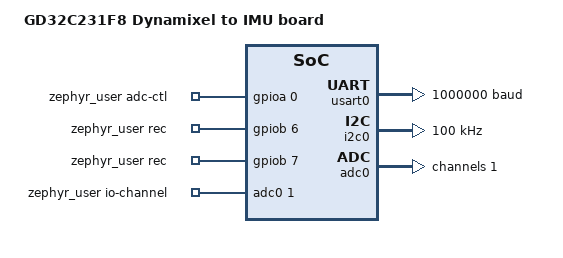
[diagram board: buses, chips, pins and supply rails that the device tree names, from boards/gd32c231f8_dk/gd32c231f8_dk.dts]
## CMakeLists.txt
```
cmake_minimum_required(VERSION 3.20.0)
list(APPEND DTS_ROOT ${CMAKE_CURRENT_SOURCE_DIR})
list(APPEND BOARD_ROOT ${CMAKE_CURRENT_SOURCE_DIR})
find_package(Zephyr REQUIRED HINTS $ENV{ZEPHYR_BASE})
project(zephyr-gd32)

target_sources(app PRIVATE src/main.c src/dxl.c src/imu.c)
```

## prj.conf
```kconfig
CONFIG_GPIO=y
CONFIG_ADC=y
CONFIG_I2C=y
CONFIG_SERIAL=y
CONFIG_UART_INTERRUPT_DRIVEN=y

# The only UART is the Dynamixel bus itself: no console, no printk.
CONFIG_CONSOLE=n
CONFIG_UART_CONSOLE=n

CONFIG_MAIN_STACK_SIZE=2048
```

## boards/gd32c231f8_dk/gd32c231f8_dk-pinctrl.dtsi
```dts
/*
 * GD32C231F8P6 (TSSOP20) pinmux
 */

#include <dt-bindings/pinctrl/gd32c231f(6)xx-pinctrl.h>

&pinctrl {
	usart0_default: usart0_default {
		group1 {
			pinmux = <USART0_TX_PA9>, <USART0_RX_PA10>;
		};
	};

	i2c0_default: i2c0_default {
		group1 {
			pinmux = <I2C0_SCL_PB6>, <I2C0_SDA_PB7>;
			drive-open-drain;
		};
	};

	adc0_default: adc0_default {
		group1 {
			pinmux = <ADC_IN1_PA1>;
		};
	};
};
```

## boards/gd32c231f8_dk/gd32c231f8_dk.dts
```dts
/*
 * MicroDuck power board MCU (GD32C231F8P6TR)
 */

/dts-v1/;

#include <gd/gd32c2x1/gd32c231f8.dtsi>
#include <zephyr/dt-bindings/adc/adc.h>
#include <zephyr/dt-bindings/i2c/i2c.h>
#include "gd32c231f8_dk-pinctrl.dtsi"

/ {
	model = "GD32C231F8 Dynamixel to IMU board";
	compatible = "gd,gd32c231f8-dk";

	chosen {
		zephyr,flash = &flash0;
		zephyr,sram = &sram0;
	};

	zephyr_user: zephyr-user {
		compatible = "zephyr,user";
		/* PA0 = ADC_CTL: powers the ADC sense divider, driven high at boot */
		adc-ctl-gpios = <&gpioa 0 GPIO_ACTIVE_HIGH>;
		/* PA1 = ADC0_IN1: Vbat divider sample (Vbat = Vadc x 2.8) */
		io-channels = <&adc0 1>;
		/* I2C0 bus recovery bit-bang (SCL, SDA) */
		rec-gpios = <&gpiob 6 GPIO_OPEN_DRAIN>, <&gpiob 7 GPIO_OPEN_DRAIN>;
	};
};

&gpioa {
	status = "okay";
};

&gpiob {
	status = "okay";
};

&usart0 {
	status = "okay";
	current-speed = <1000000>;
	pinctrl-0 = <&usart0_default>;
	pinctrl-names = "default";
};

&i2c0 {
	pinctrl-0 = <&i2c0_default>;
	pinctrl-names = "default";
	clock-frequency = <I2C_BITRATE_STANDARD>;
	status = "okay";

	/* LSM6DSV16XTR at I2C 0x6A; sensor driver disabled, the app accesses registers directly */
	lsm6dsv16x: imu@6a {
		compatible = "st,lsm6dsv16x";
		reg = <0x6a>;
		status = "disabled";
	};
};

&adc0 {
	pinctrl-0 = <&adc0_default>;
	pinctrl-names = "default";
	status = "okay";

	#address-cells = <1>;
	#size-cells = <0>;

	channel@1 {
		reg = <1>;
		zephyr,gain = "ADC_GAIN_1";
		zephyr,reference = "ADC_REF_INTERNAL";
		/* longest acquisition time (160.5 cycles) for the 18K/10K divider source impedance */
		zephyr,acquisition-time = <ADC_ACQ_TIME(ADC_ACQ_TIME_TICKS, 161)>;
		zephyr,resolution = <12>;
		zephyr,vref-mv = <3300>;
	};
};
```

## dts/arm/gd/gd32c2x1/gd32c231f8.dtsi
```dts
/*
 * GD32C231F8 (TSSOP20, 64K flash / 12K SRAM)
 *
 * The upstream gd32c2x1.dtsi lacks i2c0/adc0 nodes; they are added here.
 */

#include <gd/gd32c2x1/gd32c2x1.dtsi>

&flash0 {
	reg = <0x08000000 DT_SIZE_K(64)>;
	page-size = <DT_SIZE_K(1)>;
};

&{/soc} {
	i2c0: i2c@40005400 {
		compatible = "gd,gd32-i2c-v2";
		reg = <0x40005400 0x400>;
		#address-cells = <1>;
		#size-cells = <0>;
		interrupts = <17 0>, <18 0>;
		interrupt-names = "event", "error";
		clocks = <&cctl GD32_CLOCK_I2C0>;
		resets = <&rctl GD32_RESET_I2C0>;
		status = "disabled";
	};

	adc0: adc@40012400 {
		compatible = "gd,gd32-adc";
		reg = <0x40012400 0x400>;
		interrupts = <13 0>;
		clocks = <&cctl GD32_CLOCK_ADC>;
		resets = <&rctl GD32_RESET_ADC>;
		channels = <13>;
		vref-mv = <3300>;
		#io-channel-cells = <1>;
		status = "disabled";
	};
};
```

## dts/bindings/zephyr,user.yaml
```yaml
description: Application-specific IO pins (ADC control, ADC input channel)

compatible: "zephyr,user"

include: [base.yaml]

properties:
  adc-ctl-gpios:
    type: phandle-array
    required: true
    description: ADC_CTL power-enable GPIO (PA0)

  io-channels:
    type: phandle-array
    required: true
    description: ADC input channel (PA1/ADC0)

  rec-gpios:
    type: phandle-array
    required: true
    description: I2C0 bus recovery bit-bang pins (SCL=PB6, SDA=PB7)
```

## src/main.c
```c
/*
 * MicroDuck power board MCU (GD32C231F8P6TR)
 *
 * Dynamixel protocol 2.0 device on the single-wire half-duplex bus it shares
 * with the servos: ID 200, 1 Mbps. The IMU and battery voltage sit in a
 * control table (see dxl.c); the host reads everything as one block at
 * address 124 or register by register.
 *
 * The bus engine runs on the main thread and nothing else, so a stuck sensor
 * can never take the bus down. Sensor I2C/ADC work lives in its own thread
 * and only runs while the bus has been quiet for 2 ms.
 */

#include <zephyr/device.h>
#include <zephyr/devicetree.h>
#include <zephyr/drivers/adc.h>
#include <zephyr/drivers/gpio.h>
#include <zephyr/kernel.h>

#include "dxl.h"
#include "imu.h"

#define ADC_REF_MV     3300
#define ADC_FULL_SCALE 4095
/* divider: Vbat = Vadc x 2.8 */
#define VBAT_X100_NUM  280
#define ADC_AVG        32
#define IMU_RETRY_MS   1000

static const struct gpio_dt_spec adc_ctl =
	GPIO_DT_SPEC_GET(DT_PATH(zephyr_user), adc_ctl_gpios);
static const struct adc_dt_spec adc_chan =
	ADC_DT_SPEC_GET_BY_IDX(DT_PATH(zephyr_user), 0);
static const struct device *uart = DEVICE_DT_GET(DT_NODELABEL(usart0));

static uint32_t adc_sum;
static uint8_t adc_count;

static void adc_step(void)
{
	uint16_t value;
	struct adc_sequence seq = {
		.channels = BIT(adc_chan.channel_id),
		.buffer = &value,
		.buffer_size = sizeof(value),
		.resolution = 12,
	};

	if (adc_read(adc_chan.dev, &seq) < 0) {
		return;
	}
	adc_sum += value;
	if (++adc_count < ADC_AVG) {
		return;
	}
	uint32_t raw = adc_sum / ADC_AVG;

	adc_sum = 0;
	adc_count = 0;
	dxl_set_battery_mv(raw * ADC_REF_MV / ADC_FULL_SCALE * VBAT_X100_NUM / 100);
}

static void sensor_thread(void *p1, void *p2, void *p3)
{
	uint32_t imu_retry_at = 0;

	imu_init();
	for (;;) {
		if (dxl_bus_active()) {
			k_sleep(K_MSEC(1));
			continue;
		}
		struct imu_state im;

		imu_get_state(&im);
		if (!im.online) {
			uint32_t now = k_uptime_get_32();

			if ((int32_t)(now - imu_retry_at) >= 0) {
				if (imu_init() < 0) {
					imu_bus_recover();
				}
				imu_retry_at = now + IMU_RETRY_MS;
			}
			k_sleep(K_MSEC(10));
		} else {
			imu_step();
			k_sleep(K_MSEC(1));
		}
		if (!dxl_bus_active()) {
			adc_step();
		}
	}
}

K_THREAD_DEFINE(sensor_tid, 2048, sensor_thread, NULL, NULL, NULL, 7, 0, 0);

int main(void)
{
	if (!device_is_ready(adc_ctl.port) || !device_is_ready(adc_chan.dev) ||
	    !device_is_ready(uart)) {
		return 0;
	}
	gpio_pin_configure_dt(&adc_ctl, GPIO_OUTPUT_HIGH);
	adc_channel_setup_dt(&adc_chan);

	dxl_init(uart);

	for (;;) {
		dxl_process();
		/* prio 0 must not spin forever or the sensor thread starves */
		k_sleep(K_MSEC(1));
	}
	return 0;
}
```

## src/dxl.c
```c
/*
 * Dynamixel protocol 2.0 device side, for the half-duplex single-wire bus.
 *
 * The board answers only its own ID, so it shares the bus with the XL330
 * servos without disturbing them: PING / READ / WRITE / REBOOT addressed to
 * us, plus SYNC READ and FAST SYNC READ where we take our slot in the ID
 * list (appending after earlier devices when we are not listed first).
 *
 * Wire details that must match the host stack (rustypot, mirroring the
 * official SDK): the stuffing byte is 0xFD inserted after an FF FF FD
 * pattern, the length field and the CRC cover the stuffed bytes, and fast
 * sync read responses are never stuffed.
 *
 * The on-board 74LVC1G125/126 pair derives the bus direction from TXD, so
 * the firmware never toggles a direction pin and never hears its own echo.
 */

#include "dxl.h"

#include <string.h>

#include <zephyr/drivers/uart.h>
#include <zephyr/kernel.h>
#include <zephyr/sys/util.h>

#include "imu.h"

#define DXL_ID_DEFAULT   200
#define DXL_ID_BROADCAST 0xfe
#define DXL_MODEL_NUMBER 0x4d44
#define DXL_FW_VERSION   2
#define DXL_BAUD_CODE    3 /* 1 Mbps */

#define INSTR_PING          0x01
#define INSTR_READ          0x02
#define INSTR_WRITE         0x03
#define INSTR_REBOOT        0x08
#define INSTR_STATUS        0x55
#define INSTR_SYNC_READ     0x82
#define INSTR_FAST_SYNC_READ 0x8a

#define ERR_INSTRUCTION 0x02
#define ERR_ACCESS      0x07

/* Control table: identity block 0..9, sensor block 124..146. The 12 bytes at
 * 124 (gyro + quaternion) and the u16/u8 at 144/146 match what robotd reads
 * off the imu_to_dxl board; 124..146 read in one go is the get-everything
 * interface.
 */
#define REG_ID_ADDR     7
#define REG_SENSOR_BASE 124
#define SENSOR_MAP_LEN  23

#define RX_RING_LEN     512
#define PKT_BUF_LEN     300 /* header 4 + id/len 3 + body, generous */
#define MAX_READ_LEN    64
#define STUFFED_LEN(plen) ((plen) + (plen) / 3 + 2)

#define MONITOR_TIMEOUT_MS 30

static const struct device *uart_dev;
static uint8_t dev_id = DXL_ID_DEFAULT;
static uint32_t battery_mv;

static uint8_t rx_ring[RX_RING_LEN];
static volatile uint16_t ring_head;
static volatile uint16_t ring_tail;
static volatile uint32_t last_rx_ms;

static uint8_t pkt[PKT_BUF_LEN]; /* id, len_l, len_h, body... */
static uint16_t pkt_have;
static uint16_t pkt_need;        /* bytes after the header */
static uint32_t pkt_byte_ms;     /* last byte of the in-progress packet */

static enum {
	P_HDR,        /* hunting FF FF FD 00 */
	P_PACKET,     /* filling pkt[] */
	P_SKIP,       /* dropping an oversized packet */
	P_FSR_APPEND, /* fast sync read: consuming the response up to our slot */
	P_FSR_SKIP,   /* fast sync read: our block sent, consuming the rest */
} pstate;

static uint8_t hdr_match; /* matched prefix length, 0..4 */

/* Sync read: number of status packets to see before our turn (0 = inactive). */
static uint8_t sr_wait;
static uint32_t sr_armed_ms;

/* Fast sync read bookkeeping. */
static uint32_t fsr_bytes_before; /* response bytes preceding our block */
static uint32_t fsr_total;        /* response length on the wire */
static uint32_t fsr_consumed;
static uint16_t fsr_crc;
static uint32_t fsr_armed_ms;

/* Read address/length of the collective read in progress. */
static uint16_t coll_addr;
static uint8_t coll_len;

static uint16_t crc16_update(uint16_t crc, uint8_t byte)
{
	crc ^= (uint16_t)byte << 8;
	for (int i = 0; i < 8; i++) {
		crc = (crc & 0x8000) ? (crc << 1) ^ 0x8005 : crc << 1;
	}
	return crc;
}

static uint16_t crc16(const uint8_t *data, uint16_t len)
{
	uint16_t crc = 0;

	for (uint16_t i = 0; i < len; i++) {
		crc = crc16_update(crc, data[i]);
	}
	return crc;
}

/* Mirrors rustypot's add_stuffing: an extra 0xFD right after each FF FF FD. */
static uint16_t add_stuffing(const uint8_t *in, uint16_t in_len, uint8_t *out)
{
	uint16_t out_len = 0;
	uint8_t run = 0;

	for (uint16_t i = 0; i < in_len; i++) {
		uint8_t b = in[i];

		out[out_len++] = b;
		if (run < 2 && b == 0xff) {
			run++;
		} else if (run == 2 && b == 0xff) {
			run = 2;
		} else if (run == 2 && b == 0xfd) {
			out[out_len++] = 0xfd;
			run = 0;
		} else if (b == 0xff) {
			run = 1;
		} else {
			run = 0;
		}
	}
	return out_len;
}

static uint16_t remove_stuffing(const uint8_t *in, uint16_t in_len, uint8_t *out)
{
	uint16_t out_len = 0;
	uint8_t run = 0;

	for (uint16_t i = 0; i < in_len; i++) {
		uint8_t b = in[i];

		if (run == 3) {
			run = 0;
			if (b == 0xfd) {
				continue;
			}
		}
		if (run < 2 && b == 0xff) {
			run++;
		} else if (run == 2 && b == 0xff) {
			run = 2;
		} else if (run == 2 && b == 0xfd) {
			run = 3;
		} else if (b == 0xff) {
			run = 1;
		} else {
			run = 0;
		}
		out[out_len++] = b;
	}
	return out_len;
}

static void tx_bytes(const uint8_t *data, uint16_t len)
{
	for (uint16_t i = 0; i < len; i++) {
		uart_poll_out(uart_dev, data[i]);
	}
}

static void tx_wait_complete(void)
{
	while (!uart_irq_tx_complete(uart_dev)) {
	}
}

static void send_status(uint8_t err, const uint8_t *params, uint16_t plen)
{
	static uint8_t buf[11 + STUFFED_LEN(MAX_READ_LEN)];
	static uint8_t stuffed[STUFFED_LEN(MAX_READ_LEN)];
	uint16_t splen = add_stuffing(params, plen, stuffed);
	uint16_t len = splen + 4; /* instruction + error + crc16 */
	uint16_t pos = 0;
	uint16_t crc;

	buf[pos++] = 0xff;
	buf[pos++] = 0xff;
	buf[pos++] = 0xfd;
	buf[pos++] = 0x00;
	buf[pos++] = dev_id;
	buf[pos++] = len & 0xff;
	buf[pos++] = len >> 8;
	buf[pos++] = INSTR_STATUS;
	buf[pos++] = err;
	memcpy(&buf[pos], stuffed, splen);
	pos += splen;
	crc = crc16(buf, pos);
	buf[pos++] = crc & 0xff;
	buf[pos++] = crc >> 8;
	tx_bytes(buf, pos);
}

/* Sensor shadow laid out as the control table bytes 124..146. */
static void sensor_shadow(uint8_t *s)
{
	struct imu_state im;
	uint16_t voltage;
	int32_t temp_c;

	imu_get_state(&im);
	for (int i = 0; i < 3; i++) {
		s[2 * i] = im.gyro[i] & 0xff;
		s[2 * i + 1] = im.gyro[i] >> 8;
	}
	memcpy(&s[6], im.quat, 6);
	for (int i = 0; i < 3; i++) {
		s[12 + 2 * i] = im.accel[i] & 0xff;
		s[13 + 2 * i] = im.accel[i] >> 8;
	}
	s[18] = im.sample_counter;
	s[19] = (im.online ? 0x01 : 0) | (im.quat_valid ? 0x02 : 0) |
		(im.fifo_ovr ? 0x04 : 0);
	voltage = battery_mv / 100;
	s[20] = voltage & 0xff;
	s[21] = voltage >> 8;
	temp_c = 25 + ((int32_t)im.temp_raw >> 8);
	s[22] = temp_c < 0 ? 0 : (temp_c > 200 ? 200 : temp_c);
}

static int table_read_byte(uint16_t addr, uint8_t *out)
{
	if (addr < 10) {
		static const uint8_t identity[10] = {
			DXL_MODEL_NUMBER & 0xff, DXL_MODEL_NUMBER >> 8,
			0, 0, 0, 0,
			DXL_FW_VERSION,
		};

		if (addr == REG_ID_ADDR) {
			*out = dev_id;
		} else if (addr == 8) {
			*out = DXL_BAUD_CODE;
		} else if (addr == 9) {
			*out = 0;
		} else {
			*out = identity[addr];
		}
		return 0;
	}
	if (addr >= REG_SENSOR_BASE && addr < REG_SENSOR_BASE + SENSOR_MAP_LEN) {
		uint8_t s[SENSOR_MAP_LEN];

		sensor_shadow(s);
		*out = s[addr - REG_SENSOR_BASE];
		return 0;
	}
	return -1;
}

static bool table_write_byte(uint16_t addr, uint8_t value)
{
	switch (addr) {
	case REG_ID_ADDR:
		if (value < 0xfd) {
			dev_id = value;
		}
		return true;
	case 9:
		return true; /* return delay accepted, always 0 */
	default:
		return false;
	}
}

static void handle_read(const uint8_t *params, uint16_t plen)
{
	static uint8_t data[MAX_READ_LEN];
	uint16_t addr, len;

	if (plen != 4) {
		send_status(ERR_INSTRUCTION, NULL, 0);
		return;
	}
	addr = params[0] | ((uint16_t)params[1] << 8);
	len = params[2] | ((uint16_t)params[3] << 8);
	if (len == 0 || len > MAX_READ_LEN) {
		send_status(ERR_INSTRUCTION, NULL, 0);
		return;
	}
	for (uint16_t i = 0; i < len; i++) {
		if (table_read_byte(addr + i, &data[i]) < 0) {
			send_status(ERR_ACCESS, NULL, 0);
			return;
		}
	}
	send_status(0, data, len);
}

static void handle_write(const uint8_t *params, uint16_t plen, bool addressed)
{
	uint16_t addr;

	if (plen < 3) {
		if (addressed) {
			send_status(ERR_INSTRUCTION, NULL, 0);
		}
		return;
	}
	addr = params[0] | ((uint16_t)params[1] << 8);
	for (uint16_t i = 2; i < plen; i++) {
		if (!table_write_byte(addr + i - 2, params[i])) {
			if (addressed) {
				send_status(ERR_ACCESS, NULL, 0);
			}
			return;
		}
	}
	if (addressed) {
		send_status(0, NULL, 0);
	}
}

/* Our index in a sync read id list, or -1. */
static int id_position(const uint8_t *ids, uint16_t count)
{
	for (uint16_t i = 0; i < count; i++) {
		if (ids[i] == dev_id) {
			return i;
		}
	}
	return -1;
}

static void send_block_status(void)
{
	uint8_t data[MAX_READ_LEN];

	for (uint8_t i = 0; i < coll_len; i++) {
		if (table_read_byte(coll_addr + i, &data[i]) < 0) {
			data[i] = 0;
		}
	}
	send_status(0, data, coll_len);
}

static void handle_sync_read(const uint8_t *params, uint16_t plen, bool fast)
{
	uint16_t addr, len;
	int pos;

	if (plen < 4) {
		return;
	}
	addr = params[0] | ((uint16_t)params[1] << 8);
	len = params[2] | ((uint16_t)params[3] << 8);
	if (len == 0 || len > MAX_READ_LEN) {
		return;
	}
	pos = id_position(&params[4], plen - 4);
	if (pos < 0) {
		return;
	}
	coll_addr = addr;
	coll_len = len;

	if (!fast) {
		if (pos == 0) {
			send_block_status();
		} else {
			/* Later slot: answer once that many status packets passed. */
			sr_wait = pos;
			sr_armed_ms = k_uptime_get_32();
		}
		return;
	}

	uint32_t n = plen - 4;

	if (pos == 0) {
		/* First device opens the collective status packet. */
		uint8_t head[10];
		uint16_t plen_field = 1 + n * (len + 4);
		uint16_t crc;
		uint8_t data[MAX_READ_LEN];

		head[0] = 0xff;
		head[1] = 0xff;
		head[2] = 0xfd;
		head[3] = 0x00;
		head[4] = DXL_ID_BROADCAST;
		head[5] = plen_field & 0xff;
		head[6] = plen_field >> 8;
		head[7] = INSTR_STATUS;
		head[8] = 0;        /* error */
		head[9] = dev_id;
		tx_bytes(head, sizeof(head));
		for (uint8_t i = 0; i < len; i++) {
			if (table_read_byte(addr + i, &data[i]) < 0) {
				data[i] = 0;
			}
		}
		tx_bytes(data, len);
		crc = crc16(head, sizeof(head));
		for (uint8_t i = 0; i < len; i++) {
			crc = crc16_update(crc, data[i]);
		}
		uint8_t tail[2] = {crc & 0xff, crc >> 8};

		tx_bytes(tail, sizeof(tail));
	} else {
		/* Append after the earlier devices: consume their bytes while
		 * feeding the running CRC, then transmit our block.
		 */
		fsr_crc = 0;
		fsr_consumed = 0;
		fsr_bytes_before = 8 + (uint32_t)pos * (len + 4);
		fsr_total = 8 + n * (len + 4);
		fsr_armed_ms = k_uptime_get_32();
		pstate = P_FSR_APPEND;
	}
}

static void handle_packet(void)
{
	uint8_t id = pkt[0];
	uint16_t len = pkt[1] | ((uint16_t)pkt[2] << 8);
	const uint8_t *body = &pkt[3];
	uint8_t instr = body[0];

	if (instr == INSTR_STATUS) {
		/* Another device answering a sync read; count it down if we are
		 * waiting for our slot.
		 */
		if (sr_wait > 0 && --sr_wait == 0) {
			send_block_status();
		}
		return;
	}

	if (id != dev_id && id != DXL_ID_BROADCAST) {
		return;
	}
	bool addressed = (id == dev_id);

	/* Destuffed params: body[1 .. len-2); the last two body bytes are the CRC. */
	static uint8_t params[PKT_BUF_LEN];
	uint16_t plen = 0;

	if (len > 3) {
		plen = remove_stuffing(&body[1], len - 3, params);
	}

	switch (instr) {
	case INSTR_PING:
		if (addressed) {
			uint8_t p[3] = {DXL_MODEL_NUMBER & 0xff, DXL_MODEL_NUMBER >> 8,
					DXL_FW_VERSION};

			send_status(0, p, sizeof(p));
		}
		break;
	case INSTR_READ:
		if (addressed) {
			handle_read(params, plen);
		}
		break;
	case INSTR_WRITE:
		handle_write(params, plen, addressed);
		break;
	case INSTR_REBOOT: {
		if (addressed) {
			send_status(0, NULL, 0);
		}
		tx_wait_complete();
		NVIC_SystemReset();
		break;
	}
	case INSTR_SYNC_READ:
		if (id == DXL_ID_BROADCAST) {
			handle_sync_read(params, plen, false);
		}
		break;
	case INSTR_FAST_SYNC_READ:
		if (id == DXL_ID_BROADCAST) {
			handle_sync_read(params, plen, true);
		}
		break;
	default:
		if (addressed) {
			send_status(ERR_INSTRUCTION, NULL, 0);
		}
		break;
	}
}

static void fsr_append_byte(uint8_t b)
{
	fsr_crc = crc16_update(fsr_crc, b);
	if (++fsr_consumed != fsr_bytes_before) {
		return;
	}

	/* Our slot: error, id, data, CRC of the whole packet so far. */
	uint8_t head[2] = {0, dev_id};
	uint8_t data[MAX_READ_LEN];

	fsr_crc = crc16_update(fsr_crc, head[0]);
	fsr_crc = crc16_update(fsr_crc, head[1]);
	for (uint8_t i = 0; i < coll_len; i++) {
		if (table_read_byte(coll_addr + i, &data[i]) < 0) {
			data[i] = 0;
		}
		fsr_crc = crc16_update(fsr_crc, data[i]);
	}
	tx_bytes(head, sizeof(head));
	tx_bytes(data, coll_len);
	uint8_t tail[2] = {fsr_crc & 0xff, fsr_crc >> 8};

	tx_bytes(tail, sizeof(tail));
	fsr_consumed += coll_len + 4; /* our own block is not heard back */
	pstate = P_FSR_SKIP;
}

static void feed_byte(uint8_t b)
{
	switch (pstate) {
	case P_HDR: {
		static const uint8_t hdr[4] = {0xff, 0xff, 0xfd, 0x00};

		if (b == hdr[hdr_match]) {
			if (++hdr_match == 4) {
				hdr_match = 0;
				pkt_have = 0;
				pkt_need = 3;
				pkt_byte_ms = k_uptime_get_32();
				pstate = P_PACKET;
			}
		} else {
			hdr_match = (b == 0xff) ? (hdr_match >= 2 ? 2 : 1) : 0;
		}
		break;
	}
	case P_PACKET:
		pkt_byte_ms = k_uptime_get_32();
		pkt[pkt_have++] = b;
		if (pkt_have == 3) {
			uint16_t len = pkt[1] | ((uint16_t)pkt[2] << 8);

			if (len < 3 || len + 3 > PKT_BUF_LEN) {
				pstate = P_SKIP;
				pkt_need = len;
				break;
			}
			pkt_need = 3 + len;
		}
		if (pkt_have == pkt_need) {
			uint16_t len = pkt[1] | ((uint16_t)pkt[2] << 8);
			static const uint8_t hdr[4] = {0xff, 0xff, 0xfd, 0x00};
			uint16_t crc = crc16(hdr, 4);

			crc = crc16_update(crc, pkt[0]);
			crc = crc16_update(crc, pkt[1]);
			crc = crc16_update(crc, pkt[2]);
			for (uint16_t i = 0; i < len - 2; i++) {
				crc = crc16_update(crc, pkt[3 + i]);
			}
			if ((crc & 0xff) == pkt[pkt_need - 2] && (crc >> 8) == pkt[pkt_need - 1]) {
				handle_packet();
			}
			if (pstate == P_PACKET) {
				pstate = P_HDR;
			}
		}
		break;
	case P_SKIP:
		pkt_byte_ms = k_uptime_get_32();
		if (--pkt_need == 0) {
			pstate = P_HDR;
		}
		break;
	case P_FSR_APPEND:
		fsr_append_byte(b);
		break;
	case P_FSR_SKIP:
		if (++fsr_consumed >= fsr_total) {
			pstate = P_HDR;
		}
		break;
	}
}

static void uart_cb(const struct device *dev, void *user_data)
{
	uint8_t buf[32];

	for (;;) {
		(void)uart_err_check(dev);
		if (!uart_irq_update(dev) || !uart_irq_rx_ready(dev)) {
			break;
		}
		int n = uart_fifo_read(dev, buf, sizeof(buf));

		last_rx_ms = k_uptime_get_32();
		for (int i = 0; i < n; i++) {
			uint16_t next = (ring_head + 1) % RX_RING_LEN;

			if (next != ring_tail) {
				rx_ring[ring_head] = buf[i];
				ring_head = next;
			}
		}
	}
}

void dxl_init(const struct device *uart)
{
	/* USART RFCS register: bit 8 enables the hardware RX FIFO */
#define USART_CTL0_UEN BIT(0)
#define USART_RFCS_OFF 0xd0U
#define USART_RFCS_RFEN BIT(8)
	volatile uint32_t *ctl0 = (volatile uint32_t *)DT_REG_ADDR(DT_NODELABEL(usart0));
	volatile uint32_t *rfcs = ctl0 + USART_RFCS_OFF / sizeof(uint32_t);

	uart_dev = uart;
	/* 1M baud needs the RX FIFO: the byte ISR cannot keep up otherwise.
	 * RFEN is only writable while the USART is disabled. */
	*ctl0 &= ~USART_CTL0_UEN;
	*rfcs |= USART_RFCS_RFEN;
	*ctl0 |= USART_CTL0_UEN;
	uart_irq_callback_user_data_set(uart_dev, uart_cb, NULL);
	uart_irq_rx_enable(uart_dev);
}

void dxl_set_battery_mv(uint32_t mv)
{
	battery_mv = mv;
}

void dxl_process(void)
{
	uint8_t b;

	while (ring_tail != ring_head) {
		b = rx_ring[ring_tail];
		ring_tail = (ring_tail + 1) % RX_RING_LEN;
		feed_byte(b);
	}

	uint32_t now = k_uptime_get_32();

	if (sr_wait > 0 && now - sr_armed_ms > MONITOR_TIMEOUT_MS) {
		sr_wait = 0;
	}
	if ((pstate == P_FSR_APPEND || pstate == P_FSR_SKIP) &&
	    now - fsr_armed_ms > MONITOR_TIMEOUT_MS) {
		pstate = P_HDR;
	}
	if ((pstate == P_PACKET || pstate == P_SKIP) && now - pkt_byte_ms > 20) {
		pstate = P_HDR;
	}
}

bool dxl_bus_active(void)
{
	if (ring_tail != ring_head || pstate != P_HDR || sr_wait > 0) {
		return true;
	}
	return (k_uptime_get_32() - last_rx_ms) < 2;
}
```

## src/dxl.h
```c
#ifndef DXL_H
#define DXL_H

#include <stdbool.h>
#include <stdint.h>

#include <zephyr/device.h>

/* Battery voltage in mV, shown in the control table in 0.1 V units. */
void dxl_set_battery_mv(uint32_t mv);

void dxl_init(const struct device *uart);

/* Consume received bytes, run timeouts, answer requests. Call in a tight loop. */
void dxl_process(void);

/* Anything in flight or heard on the bus within the last 2 ms. Sensor I2C
 * traffic only runs while this is false, so a slow sensor read can never hold
 * up a bus answer.
 */
bool dxl_bus_active(void);

#endif
```

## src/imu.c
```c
/*
 * LSM6DSV16X over I2C0 (PB6/PB7, addr 0x6A).
 *
 * Gyro runs at +/-500 dps because that is the scale the bus consumer decodes.
 * Orientation comes from the chip's SFLP block: the game-rotation quaternion
 * is only exposed through the FIFO (tag 0x13, three IEEE half floats), so the
 * FIFO runs in stream mode with SFLP batching enabled.
 */

#include "imu.h"

#include <string.h>

#include <zephyr/device.h>
#include <zephyr/devicetree.h>
#include <zephyr/drivers/gpio.h>
#include <zephyr/drivers/i2c.h>
#include <zephyr/drivers/pinctrl.h>

#define REG_FUNC_CFG_ACCESS  0x01
#define REG_WHO_AM_I         0x0f
#define REG_CTRL1            0x10
#define REG_CTRL2            0x11
#define REG_CTRL3            0x12
#define REG_CTRL6            0x15
#define REG_CTRL8            0x17
#define REG_FIFO_STATUS1     0x1b
#define REG_OUT_TEMP_L       0x20
#define REG_FIFO_DATA_OUT    0x78

#define EMB_FUNC_EN_A        0x04
#define EMB_FUNC_FIFO_EN_A   0x44
#define EMB_SFLP_ODR         0x5e

#define WHO_AM_I_VALUE       0x70

#define TAG_SFLP_GAME_ROT    0x13

#define FIFO_WORD_LEN        7
#define FIFO_DRAIN_MAX       4

static const struct i2c_dt_spec imu_bus = I2C_DT_SPEC_GET(DT_NODELABEL(lsm6dsv16x));

PINCTRL_DT_DEFINE(DT_NODELABEL(i2c0));

static const struct gpio_dt_spec rec_scl =
	GPIO_DT_SPEC_GET_BY_IDX(DT_PATH(zephyr_user), rec_gpios, 0);
static const struct gpio_dt_spec rec_sda =
	GPIO_DT_SPEC_GET_BY_IDX(DT_PATH(zephyr_user), rec_gpios, 1);

static struct imu_state state;
static uint16_t fifo_level;
static enum { STEP_FIFO_STATUS, STEP_FIFO_DRAIN, STEP_OUT_REGS } step;

static int wr(uint8_t reg, uint8_t value)
{
	return i2c_reg_write_byte_dt(&imu_bus, reg, value);
}

static int rd(uint8_t reg, uint8_t *buf, uint8_t len)
{
	return i2c_burst_read_dt(&imu_bus, reg, buf, len);
}

static int emb_access(bool on)
{
	return wr(REG_FUNC_CFG_ACCESS, on ? 0x80 : 0x00);
}

/*
 * A reset landing mid-transfer leaves the IMU holding SDA low, and the
 * I2C driver's SRESET-based recovery cannot clear that. Clock SCL until
 * the slave releases SDA (9 clocks max), finish with a STOP, then hand
 * the pins back to the I2C peripheral.
 */
void imu_bus_recover(void)
{
	gpio_pin_configure_dt(&rec_sda, GPIO_INPUT | GPIO_PULL_UP);
	gpio_pin_configure_dt(&rec_scl, GPIO_OUTPUT_INACTIVE);

	for (int i = 0; i < 9; i++) {
		gpio_pin_set_dt(&rec_scl, 1);
		k_usleep(5);
		if (gpio_pin_get_dt(&rec_sda) > 0) {
			break;
		}
		gpio_pin_set_dt(&rec_scl, 0);
		k_usleep(5);
	}
	gpio_pin_configure_dt(&rec_sda, GPIO_OUTPUT_INACTIVE);
	k_usleep(5);
	gpio_pin_set_dt(&rec_scl, 1);
	k_usleep(5);
	gpio_pin_set_dt(&rec_sda, 1);
	k_usleep(5);

	pinctrl_apply_state(PINCTRL_DT_DEV_CONFIG_GET(DT_NODELABEL(i2c0)),
			    PINCTRL_STATE_DEFAULT);
}

int imu_init(void)
{
	uint8_t id = 0;

	state.online = false;
	state.quat_valid = false;
	state.fifo_ovr = false;
	if (rd(REG_WHO_AM_I, &id, 1) < 0 || id != WHO_AM_I_VALUE) {
		return -1;
	}
	if (wr(REG_CTRL3, 0x01) < 0) {          /* sw_reset */
		return -1;
	}
	for (volatile int i = 0; i < 100000; i++) {
	}
	if (wr(REG_CTRL3, 0x44) < 0 ||          /* BDU + IF_INC */
	    wr(REG_CTRL6, 0x02) < 0 ||          /* gyro +/-500 dps */
	    wr(REG_CTRL8, 0x00) < 0 ||          /* accel +/-2 g */
	    emb_access(true) < 0 ||
	    wr(EMB_FUNC_FIFO_EN_A, 0x02) < 0 || /* batch SFLP game rotation */
	    emb_access(false) < 0 ||
	    wr(0x0a, 0x06) < 0 ||               /* FIFO_CTRL4: stream mode */
	    wr(REG_CTRL1, 0x06) < 0 ||          /* accel ODR 120 Hz */
	    wr(REG_CTRL2, 0x06) < 0 ||          /* gyro ODR 120 Hz */
	    emb_access(true) < 0 ||
	    wr(EMB_SFLP_ODR, 0x18) < 0 ||       /* SFLP 120 Hz */
	    wr(EMB_FUNC_EN_A, 0x02) < 0 ||      /* sflp_game_en */
	    emb_access(false) < 0) {
		return -1;
	}
	state.online = true;
	step = STEP_FIFO_STATUS;
	return 0;
}

static void fifo_status_step(void)
{
	uint8_t buf[2];

	if (rd(REG_FIFO_STATUS1, buf, 2) < 0) {
		state.online = false;
		return;
	}
	fifo_level = ((uint16_t)(buf[1] & 0x01) << 8) | buf[0];
	if (buf[1] & 0x60) {                    /* full / overrun */
		state.fifo_ovr = true;
	}
	step = fifo_level ? STEP_FIFO_DRAIN : STEP_OUT_REGS;
}

static void fifo_drain_step(void)
{
	uint8_t buf[FIFO_DRAIN_MAX * FIFO_WORD_LEN];
	uint8_t n = fifo_level > FIFO_DRAIN_MAX ? FIFO_DRAIN_MAX : (uint8_t)fifo_level;

	if (rd(REG_FIFO_DATA_OUT, buf, n * FIFO_WORD_LEN) < 0) {
		state.online = false;
		return;
	}
	for (uint8_t i = 0; i < n; i++) {
		const uint8_t *word = &buf[i * FIFO_WORD_LEN];

		if ((word[0] >> 3) == TAG_SFLP_GAME_ROT) {
			memcpy(state.quat, &word[1], 6);
			state.quat_valid = true;
			state.sample_counter++;
		}
	}
	step = STEP_OUT_REGS;
}

static void out_regs_step(void)
{
	uint8_t buf[14];

	if (rd(REG_OUT_TEMP_L, buf, sizeof(buf)) < 0) {
		state.online = false;
		return;
	}
	state.temp_raw = (int16_t)(buf[0] | ((uint16_t)buf[1] << 8));
	for (int i = 0; i < 3; i++) {
		state.gyro[i] = (int16_t)(buf[2 + 2 * i] | ((uint16_t)buf[3 + 2 * i] << 8));
		state.accel[i] = (int16_t)(buf[8 + 2 * i] | ((uint16_t)buf[9 + 2 * i] << 8));
	}
	step = STEP_FIFO_STATUS;
}

void imu_step(void)
{
	switch (step) {
	case STEP_FIFO_STATUS:
		fifo_status_step();
		break;
	case STEP_FIFO_DRAIN:
		fifo_drain_step();
		break;
	default:
		out_regs_step();
		break;
	}
}

void imu_get_state(struct imu_state *out)
{
	*out = state;
}
```

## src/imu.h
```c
#ifndef IMU_H
#define IMU_H

#include <stdint.h>
#include <stdbool.h>

struct imu_state {
	int16_t gyro[3];    /* raw, +/-500 dps, 17.5 mdps/LSB */
	int16_t accel[3];   /* raw, +/-2 g, 0.061 mg/LSB */
	int16_t temp_raw;   /* 1/256 C/LSB, 0 at 25 C */
	uint8_t quat[6];    /* SFLP game rotation x/y/z, IEEE half LE */
	uint8_t sample_counter;
	bool online;
	bool quat_valid;
	bool fifo_ovr;
};

int imu_init(void);
/* Bit-bang SCL/SDA out of a slave-held bus lockup, then restore pinctrl. */
void imu_bus_recover(void);
/* One bounded I2C transaction per call; only call while the DXL bus is idle. */
void imu_step(void);
void imu_get_state(struct imu_state *out);

#endif
```
